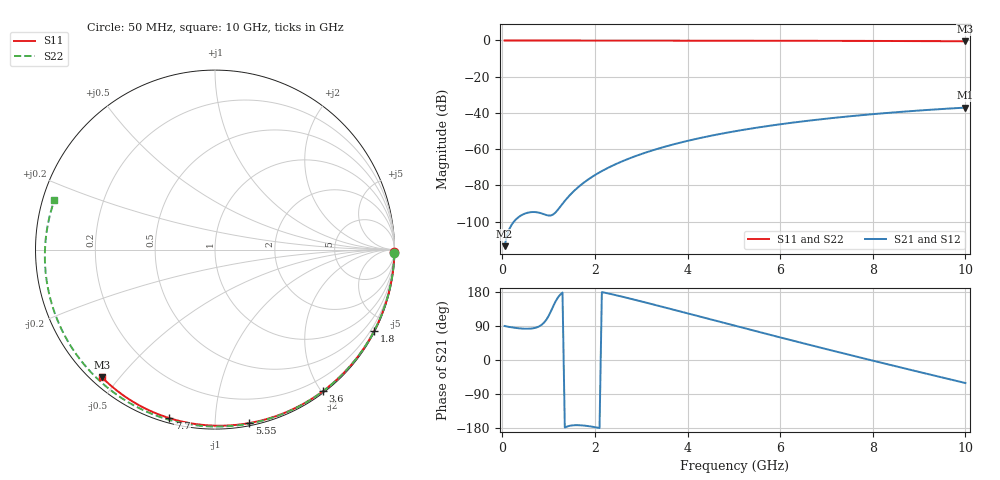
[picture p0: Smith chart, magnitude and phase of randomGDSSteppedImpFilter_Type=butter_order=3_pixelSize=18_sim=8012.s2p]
! freq	dB(S11)	phase(S11)	dB(S12)	phase(S12)
!  dB(S21)	phase(S21)	dB(S22)	phase(S22)
!S-par simulation data
#  GHz  S  DB  R 50
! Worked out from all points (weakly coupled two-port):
!   200 points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, 50 MHz to 10 GHz, reference 50 ohm
!   highest |S21| = -37.09 dB at 10 GHz (marker M1); lowest = -113.6 dB at 50 MHz (marker M2)
!   lowest |S11| = -0.4 dB at 10 GHz (marker M3), VSWR 39.08, Z = 1.54 - j22.5 ohm
!   |S11| at or under -10 dB: nowhere
!   |S22| runs from -0.6 to 0.0 dB; largest |S21 - S12| = 0
!   S11 on the Smith chart (normalised r, x): 50 MHz: open; 1.8 GHz: 0.04, -4.17; 3.6 GHz: 0.02, -2.02; 5.55 GHz: 0.02, -1.22; 7.7 GHz: 0.02, -0.76; 10 GHz: 0.03, -0.45
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0.05  -0.00 -0.8  -113.62 89.7  -113.62 89.7  -0.00 -1.2
0.4  -0.01 -6.1  -96.72 83.2  -96.72 83.2  -0.01 -9.4
0.8  -0.02 -12.1  -95.17 89.0  -95.17 89.0  -0.02 -18.8
1.2  -0.02 -18.1  -93.50 164.7  -93.50 164.7  -0.04 -28.0
1.65  -0.03 -24.8  -80.78 -172.0  -80.78 -172.0  -0.05 -38.3
1.7  -0.03 -25.5  -79.73 -172.3  -79.73 -172.3  -0.05 -39.4
1.75  -0.03 -26.2  -78.73 -172.9  -78.73 -172.9  -0.05 -40.5
1.8  -0.03 -27.0  -77.78 -173.5  -77.78 -173.5  -0.05 -41.7
2.1  -0.04 -31.4  -72.85 -179.6  -72.85 -179.6  -0.06 -48.3
2.5  -0.05 -37.2  -67.74 169.7  -67.74 169.7  -0.07 -57.1
2.9  -0.06 -42.9  -63.65 157.8  -63.65 157.8  -0.08 -65.6
3.4  -0.07 -50.0  -59.50 142.2  -59.50 142.2  -0.10 -76.0
3.6  -0.07 -52.7  -58.05 135.8  -58.05 135.8  -0.11 -80.1
4.3  -0.09 -62.3  -53.73 113.5  -53.73 113.5  -0.13 -94.0
5.05  -0.11 -72.3  -50.03 89.6  -50.03 89.6  -0.16 -108.2
5.55  -0.13 -78.8  -47.95 73.7  -47.95 73.7  -0.19 -117.5
6.15  -0.15 -86.4  -45.78 54.9  -45.78 54.9  -0.22 -128.3
6.7  -0.18 -93.2  -44.05 37.9  -44.05 37.9  -0.26 -138.0
7.7  -0.24 -105.2  -41.40 7.3  -41.40 7.3  -0.34 -155.6
8.35  -0.29 -112.8  -39.95 -12.2  -39.95 -12.2  -0.40 -167.0
9.2  -0.36 -122.5  -38.34 -37.4  -38.34 -37.4  -0.48 177.7
10  -0.44 -131.6  -37.09 -60.8  -37.09 -60.8  -0.57 162.8
